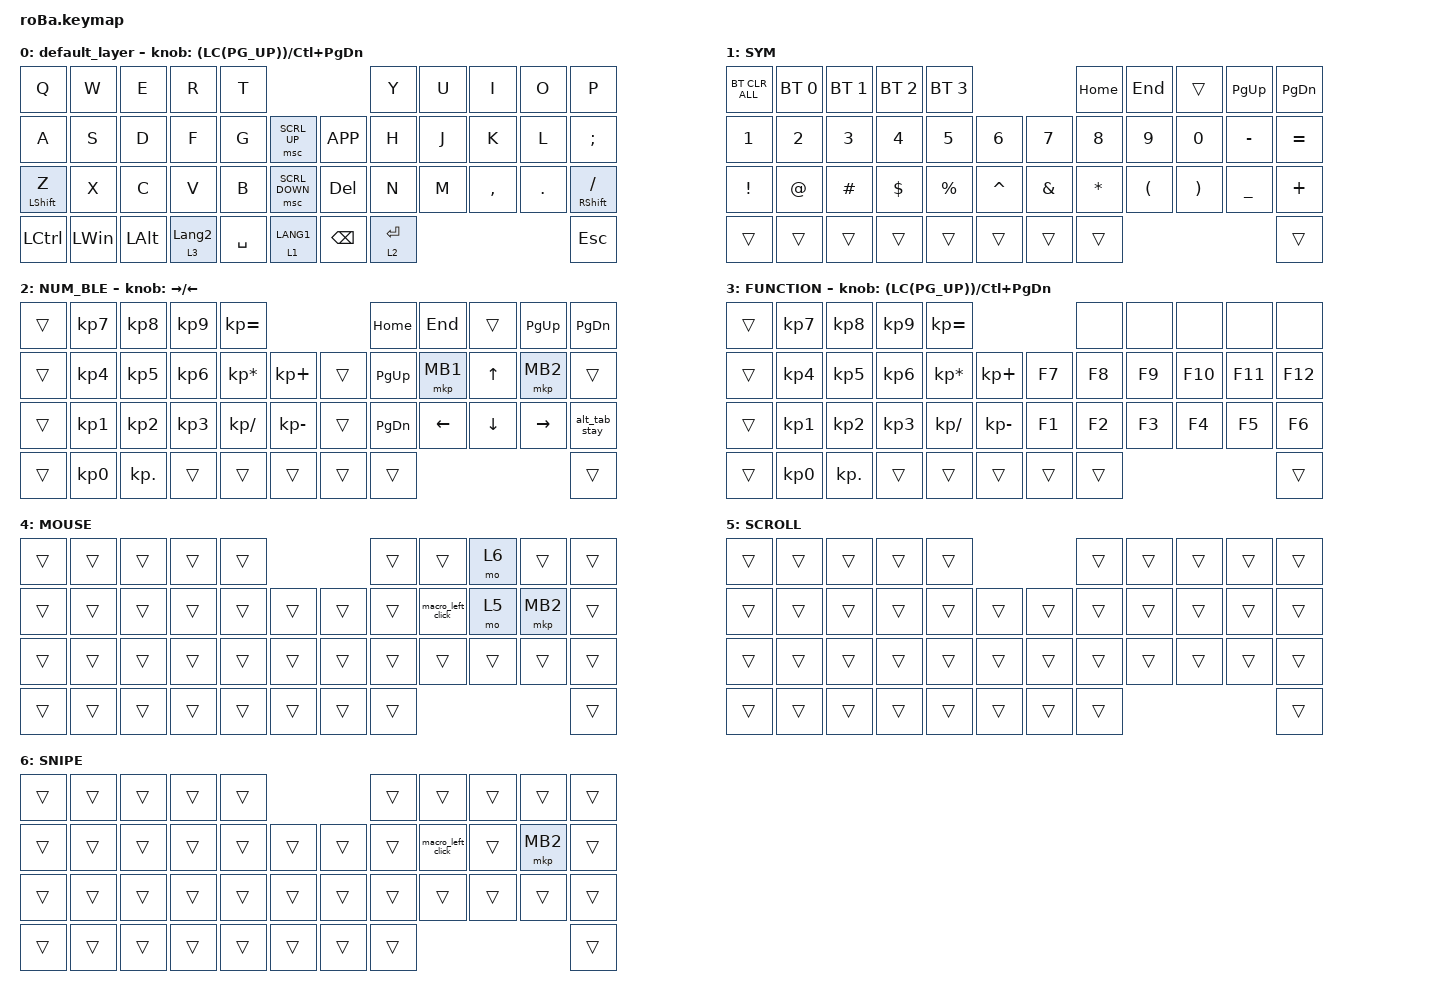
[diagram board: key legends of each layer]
#include <behaviors.dtsi>
#include <dt-bindings/zmk/bt.h>
#include <dt-bindings/zmk/keys.h>
#include <dt-bindings/zmk/pointing.h>

#define MOUSE 4
#define SCROLL 5
#define SNIPE 6

&mt {
    flavor = "balanced";
    quick-tap-ms = <0>;
    tapping-term-ms = <300>;
};

&sl { release-after-ms = <180>; };

&left_encoder {
    steps = <40>;
};
/ {
    keymap-sensors {
        compatible = "zmk,keymap-sensors";
        sensors = <&left_encoder>;
        triggers-per-rotation = <20>;
    };
};

/ {
    combos {
        compatible = "zmk,combos";

        op {
            bindings = <&kp MINUS>;
            key-positions = <9 8>;
        };

        single_quote {
            bindings = <&kp SINGLE_QUOTE>;
            key-positions = <21 20>;
        };

        backslash {
            bindings = <&kp BACKSLASH>;
            key-positions = <32 33>;
        };

        grave {
            bindings = <&kp GRAVE>;
            key-positions = <0 1>;
        };

        tab {
            bindings = <&kp TAB>;
            key-positions = <11 10>;
        };

        caps {
            bindings = <&kp CAPSLOCK>;
            key-positions = <35 36>;
        };

        brackets {
            bindings = <&brackets>;
            key-positions = <7 6>;
        };

        braces {
            bindings = <&braces>;
            key-positions = <19 18>;
        };

        parenthesis {
            bindings = <&parenthesis>;
            key-positions = <31 30>;
        };
    };

    macros {
        to_layer_0: to_layer_0 {
            compatible = "zmk,behavior-macro-one-param";
            #binding-cells = <1>;
            bindings = <&to 0 &macro_param_1to1 &kp MACRO_PLACEHOLDER>;
            label = "TO_LAYER_0";
        };

        brackets: brackets {
            compatible = "zmk,behavior-macro";
            #binding-cells = <0>;
            bindings = <&kp LEFT_BRACKET &kp RIGHT_BRACKET>;
            label = "BRACKETS";
        };

        braces: braces {
            compatible = "zmk,behavior-macro";
            #binding-cells = <0>;
            bindings = <&kp LEFT_BRACE &kp RIGHT_BRACE>;
            label = "BRACES";
        };

        parenthesis: parthens {
            compatible = "zmk,behavior-macro";
            #binding-cells = <0>;
            bindings = <&kp LEFT_PARENTHESIS &kp RIGHT_PARENTHESIS>;
            label = "PARTHENS";
        };

        lgts: lgts {
            compatible = "zmk,behavior-macro";
            #binding-cells = <0>;
            bindings = <&kp LESS_THAN &kp GREATER_THAN>;
            label = "LGTS";
        };

        cmd_space: cmd_space {
            compatible = "zmk,behavior-macro";
            #binding-cells = <0>;
            bindings = <&kp LG(SPACE)>;
            label = "CMD_SPACE";
        };

        bracket: bracket {
            compatible = "zmk,behavior-macro";
            #binding-cells = <0>;
            bindings = <&kp LANG2 &kp LEFT_BRACKET>;
            label = "BRACKET";
        };

        screenshot: screenshot {
            compatible = "zmk,behavior-macro";
            #binding-cells = <0>;
            bindings = <&kp LS(LG(NUMBER_4))>;
            label = "SCREENSHOT";
        };

        macro_left_click: macro_left_click {
            compatible = "zmk,behavior-macro";
            #binding-cells = <0>;
            bindings =
                <&macro_press>,
                <&mkp LCLK>,
                <&macro_pause_for_release>,
                <&macro_release>,
                <&mkp LCLK>,
                <&macro_tap>,
                <&tog_off 4 &sl 4>;

            label = "MACRO_LEFT_CLICK";
        };

        // マクロの名前を「alt_tab_stay」として定義
        alt_tab_stay: alt_tab_stay {
            compatible = "zmk,behavior-macro";
            #binding-cells = <0>;
            wait-ms = <0>;
            tap-ms = <10>;
            bindings
                // 1. まず左Altを「押しっぱなし」にする
                = <&macro_press &kp LALT>
                // 2. その状態でTabを「1回だけタップ」する
                , <&macro_tap &kp TAB>
                // 3. 物理キーが「放されるまで」ここで処理を一時停止する
                , <&macro_pause_for_release>
                // 4. 物理キーが放されたら、左Altを「解放」する
                , <&macro_release &kp LALT>
                ;
        };
    };

    behaviors {
        lt_to_layer_0: lt_to_layer_0 {
            compatible = "zmk,behavior-hold-tap";
            label = "LAYER_TAP_TO_0";
            bindings = <&mo>, <&to_layer_0>;

            #binding-cells = <2>;
            tapping-term-ms = <300>;
        };

        tog_off: toggle_layer_off_only {
            compatible = "zmk,behavior-toggle-layer";
            #binding-cells = <1>;
            display-name = "Toggle Layer Off";
            toggle-mode = "off";
        };
    };

    keymap {
        compatible = "zmk,keymap";

        default_layer {
            bindings = <
&kp Q             &kp W     &kp E         &kp R             &kp T                                         &kp Y        &kp U  &kp I      &kp O       &kp P
&kp A             &kp S     &kp D         &kp F             &kp G      &msc SCRL_UP        &kp K_APP      &kp H        &kp J  &kp K      &kp L       &kp SEMICOLON
&mt LEFT_SHIFT Z  &kp X     &kp C         &kp V             &kp B      &msc SCRL_DOWN      &kp DEL        &kp N        &kp M  &kp COMMA  &kp PERIOD  &mt RIGHT_SHIFT SLASH
&kp LEFT_CONTROL  &kp LWIN  &kp LEFT_ALT  &lt 3 LANGUAGE_2  &kp SPACE  &lt 1 LANG1         &kp BACKSPACE  &lt 2 ENTER                                &kp ESC
            >;

            sensor-bindings = <&inc_dec_kp (LC(PG_UP)) LC(PG_DN)>;
        };

        SYM {
            bindings = <
&bt BT_CLR_ALL   &bt BT_SEL 0  &bt BT_SEL 1  &bt BT_SEL 2  &bt BT_SEL 3                                   &kp HOME      &kp END               &trans                 &kp PAGE_UP     &kp PAGE_DOWN
&kp NUMBER_1     &kp NUMBER_2  &kp NUMBER_3  &kp NUMBER_4  &kp NUMBER_5  &kp NUMBER_6      &kp NUMBER_7   &kp NUMBER_8  &kp NUMBER_9          &kp NUMBER_0           &kp MINUS       &kp EQUAL
&kp EXCLAMATION  &kp AT_SIGN   &kp HASH      &kp DOLLAR    &kp PERCENT   &kp CARET         &kp AMPERSAND  &kp ASTERISK  &kp LEFT_PARENTHESIS  &kp RIGHT_PARENTHESIS  &kp UNDERSCORE  &kp PLUS
&trans           &trans        &trans        &trans        &trans        &trans            &trans         &trans                                                                     &trans
            >;
        };

        NUM_BLE {
            bindings = <
&trans  &kp KP_NUMBER_7  &kp KP_NUMBER_8  &kp KP_NUMBER_9  &kp KP_EQUAL                               &kp HOME       &kp END   &trans    &kp PAGE_UP  &kp PAGE_DOWN
&trans  &kp KP_NUMBER_4  &kp KP_NUMBER_5  &kp KP_NUMBER_6  &kp KP_MULTIPLY  &kp KP_PLUS       &trans  &kp PAGE_UP    &mkp MB1  &kp UP    &mkp MB2     &trans
&trans  &kp KP_NUMBER_1  &kp KP_NUMBER_2  &kp KP_NUMBER_3  &kp KP_SLASH     &kp KP_MINUS      &trans  &kp PAGE_DOWN  &kp LEFT  &kp DOWN  &kp RIGHT    &alt_tab_stay
&trans  &kp KP_NUMBER_0  &kp KP_DOT       &trans           &trans           &trans            &trans  &trans                                          &trans
            >;

            sensor-bindings = <&inc_dec_kp RIGHT LEFT>;
        };

        FUNCTION {
            bindings = <
&trans  &kp KP_NUMBER_7  &kp KP_NUMBER_8  &kp KP_NUMBER_9  &kp KP_EQUAL                               &none   &none   &none    &none    &none
&trans  &kp KP_NUMBER_4  &kp KP_NUMBER_5  &kp KP_NUMBER_6  &kp KP_MULTIPLY  &kp KP_PLUS       &kp F7  &kp F8  &kp F9  &kp F10  &kp F11  &kp F12
&trans  &kp KP_NUMBER_1  &kp KP_NUMBER_2  &kp KP_NUMBER_3  &kp KP_SLASH     &kp KP_MINUS      &kp F1  &kp F2  &kp F3  &kp F4   &kp F5   &kp F6
&trans  &kp KP_NUMBER_0  &kp KP_DOT       &trans           &trans           &trans            &trans  &trans                            &trans
            >;

            sensor-bindings = <&inc_dec_kp (LC(PG_UP)) LC(PG_DN)>;
        };

        MOUSE {
            bindings = <
&trans  &trans  &trans  &trans  &trans                      &trans  &trans             &mo 6   &trans    &trans
&trans  &trans  &trans  &trans  &trans  &trans      &trans  &trans  &macro_left_click  &mo 5   &mkp MB2  &trans
&trans  &trans  &trans  &trans  &trans  &trans      &trans  &trans  &trans             &trans  &trans    &trans
&trans  &trans  &trans  &trans  &trans  &trans      &trans  &trans                                       &trans
            >;
        };

        SCROLL {
            bindings = <
&trans  &trans  &trans  &trans  &trans                      &trans  &trans  &trans  &trans  &trans
&trans  &trans  &trans  &trans  &trans  &trans      &trans  &trans  &trans  &trans  &trans  &trans
&trans  &trans  &trans  &trans  &trans  &trans      &trans  &trans  &trans  &trans  &trans  &trans
&trans  &trans  &trans  &trans  &trans  &trans      &trans  &trans                          &trans
            >;
        };

        SNIPE {
            bindings = <
&trans  &trans  &trans  &trans  &trans                      &trans  &trans             &trans  &trans    &trans
&trans  &trans  &trans  &trans  &trans  &trans      &trans  &trans  &macro_left_click  &trans  &mkp MB2  &trans
&trans  &trans  &trans  &trans  &trans  &trans      &trans  &trans  &trans             &trans  &trans    &trans
&trans  &trans  &trans  &trans  &trans  &trans      &trans  &trans                                       &trans
            >;
        };
    };
};
